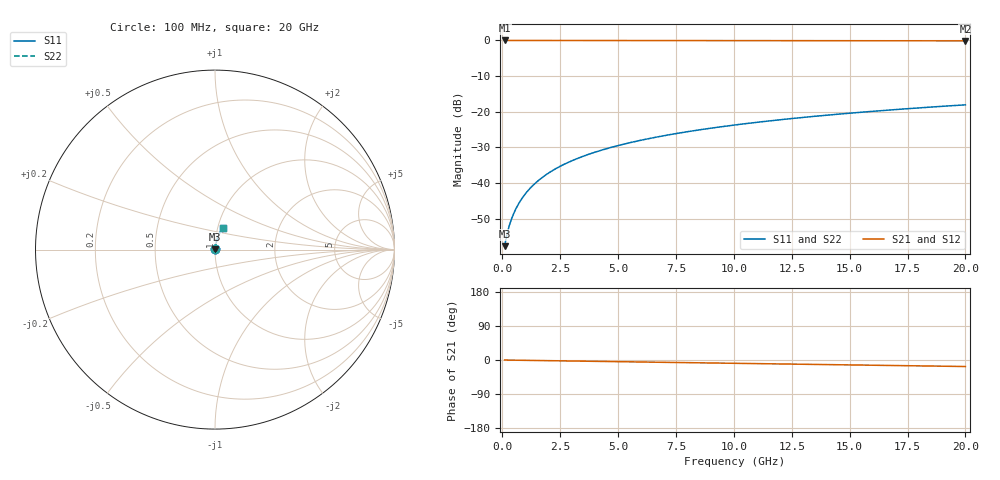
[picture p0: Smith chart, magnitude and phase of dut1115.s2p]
! Touchstone file exported from HFSS 2026.1.0
!  File:  C:/ffzhzh/LocalFiles/Ansys_Project_Files/temp_train_TMRDL_1115_1783161500_43440.aedt
!  Generated:  06:39:32 PM Jul  4, 2026
!  Design:  TMRDL
!  Project:  temp_train_TMRDL_1115_1783161500_43440
! Variables:
!  h_bsmrdl = 2um
!  h_ox = 20um
!  h_rdl = 5um
!  h_sub = 80um
!  h_tmrdl = 4.68um
!  h_tsv = 80um
!  h_via = 3um
!  l_bsmrdl = 300um
!  l_sub = 655.17um
!  l_tmrdl = 255.17um
!  m_sub = 200um
!  pitch = 38.3um
!  r_tsv = 6um
!  s_tmrdl = 10um
!  w_bsmrdl = 18um
!  w_sub = 500um
!  w_tmrdl = 22.68um
!  x_tsv_center1 = 266.51um
!  x_tsv_center2 = 584.51um
!  x_tsv_center3 = 862.36um
!  x_tsv_center4 = 1180.36um
!  x_tsv_center5 = 1458.21um
!  x_tsv_center6 = 1776.21um
# GHz S MA R 50.000000
! Terminal data exported
! Port[1] = TM_RDL1_1_T1
! Port[2] = TM_RDL1_1_T2
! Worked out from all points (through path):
!   200 points, 100 MHz to 20 GHz, reference 50 ohm
!   highest |S21| = -0.01 dB at 100 MHz (marker M1); lowest = -0.1 dB at 20 GHz (marker M2)
!   group delay of S21, straight-line fit = 2.38 ps
!   lowest |S11| = -57.7 dB at 100 MHz (marker M3), VSWR 1.00, Z = 50.1 + j0.0802 ohm
!   |S11| at or under -10 dB: start of sweep to end of sweep
!   |S22| runs from -57.7 to -18.1 dB; largest |S21 - S12| = 9.1e-15
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0.1  0.001308 37.7  0.999 -0.1  0.999 -0.1  0.001308 37.7
! Gamma 0 0 0 0
! Port Impedance 50 0 50 0
0.2  0.0019 53.8  0.9989 -0.2  0.9989 -0.2  0.0019 53.8
0.3  0.002523 61.8  0.9988 -0.3  0.9988 -0.3  0.002523 61.8
0.4  0.003155 66.7  0.9988 -0.4  0.9988 -0.4  0.003155 66.7
0.5  0.003797 70.1  0.9987 -0.5  0.9987 -0.5  0.003797 70.1
0.6  0.004448 72.6  0.9987 -0.5  0.9987 -0.5  0.004448 72.6
0.8  0.00577 76.0  0.9986 -0.7  0.9986 -0.7  0.00577 76.0
1.1  0.007783 78.7  0.9986 -1.0  0.9986 -1.0  0.007783 78.7
1.3  0.009133 79.8  0.9985 -1.2  0.9985 -1.2  0.009133 79.8
1.6  0.01116 80.8  0.9984 -1.4  0.9984 -1.4  0.01116 80.8
2.1  0.01454 81.6  0.9982 -1.9  0.9982 -1.9  0.01454 81.6
2.7  0.01856 81.9  0.998 -2.4  0.998 -2.4  0.01856 81.9
3.5  0.02386 81.8  0.9976 -3.1  0.9976 -3.1  0.02386 81.8
4.2  0.02844 81.5  0.9972 -3.7  0.9972 -3.7  0.02844 81.5
5  0.03361 81.1  0.9968 -4.4  0.9968 -4.4  0.03361 81.1
5.9  0.03937 80.5  0.9963 -5.2  0.9963 -5.2  0.03937 80.5
6.8  0.04507 79.9  0.9958 -6.0  0.9958 -6.0  0.04507 79.9
8.3  0.05448 78.9  0.9949 -7.3  0.9949 -7.3  0.05448 78.9
10.1  0.06566 77.7  0.9938 -8.8  0.9938 -8.8  0.06566 77.7
13.4  0.08587 75.3  0.9916 -11.6  0.9916 -11.6  0.08587 75.3
16.7  0.1057 72.8  0.9892 -14.4  0.9892 -14.4  0.1057 72.7
20  0.1251 70.2  0.9864 -17.2  0.9864 -17.2  0.1251 70.2
